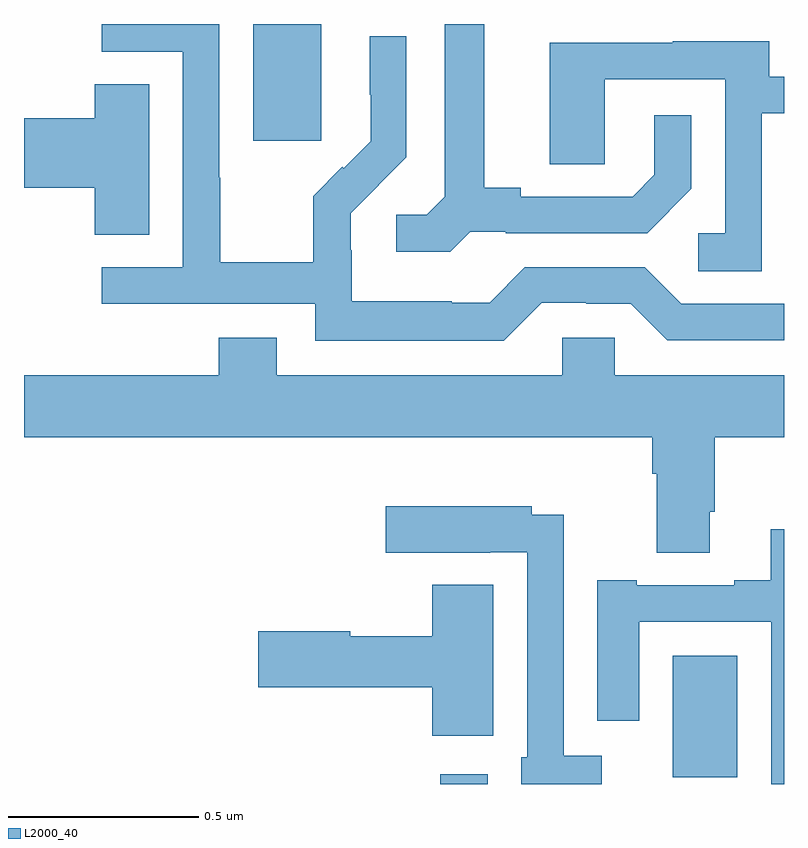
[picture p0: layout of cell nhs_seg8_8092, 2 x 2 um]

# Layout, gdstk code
import gdstk
lib = gdstk.Library(unit=1e-6, precision=1e-09)
def R(c, l, rs):  # rectangles x0, y0, x1, y1
    for r in rs: c.add(gdstk.rectangle(r[:2], r[2:], *l))
def P(c, l, *ps):  # polygons
    for p in ps: c.add(gdstk.Polygon(p, *l))
L2000_40 = (2000, 40)

nhs_seg8_8092 = lib.new_cell('nhs_seg8_8092')
R(nhs_seg8_8092, L2000_40, [(219.095,1136.9,219.22,1136.926), (219.707,1136.918,219.877,1137.238), (218.603,1138.593,218.782,1138.9)])
P(nhs_seg8_8092, L2000_40, [(219.174,1138.353),(219.268,1138.353),(219.268,1138.35),(219.64,1138.35),(219.756,1138.466),(219.756,1138.66),(219.659,1138.66),(219.659,1138.503),(219.602,1138.446),(219.307,1138.446),(219.307,1138.469),(219.211,1138.469),(219.211,1138.9),(219.107,1138.9),(219.107,1138.445),(219.06,1138.398),(218.979,1138.398),(218.979,1138.301),(219.122,1138.301)],
  [(219.363,1138.167),(219.479,1138.167),(219.479,1138.164),(219.597,1138.164),(219.693,1138.068),(220,1138.068),(220,1138.164),(219.729,1138.164),(219.633,1138.26),(219.318,1138.26),(219.225,1138.167),(219.125,1138.167),(219.125,1138.171),(218.862,1138.171),(218.862,1138.305),(218.86,1138.305),(218.86,1138.402),(218.934,1138.476),(218.933,1138.477),(219.006,1138.55),(219.006,1138.868),(218.91,1138.868),(218.91,1138.714),(218.912,1138.714),(218.912,1138.592),(218.841,1138.521),(218.838,1138.524),(218.761,1138.447),(218.761,1138.273),(218.517,1138.273),(218.517,1138.496),(218.514,1138.496),(218.514,1138.9),(218.205,1138.9),(218.205,1138.827),(218.418,1138.827),(218.418,1138.26),(218.205,1138.26),(218.205,1138.164),(218.766,1138.164),(218.766,1138.067),(219.263,1138.067)],
  [(219.942,1138.665),(220,1138.665),(220,1138.761),(219.961,1138.761),(219.961,1138.855),(219.707,1138.855),(219.707,1138.851),(219.383,1138.851),(219.383,1138.531),(219.528,1138.531),(219.528,1138.755),(219.846,1138.755),(219.846,1138.35),(219.774,1138.35),(219.774,1138.249),(219.942,1138.249)],
  [(218.329,1138.742),(218.186,1138.742),(218.186,1138.652),(218,1138.652),(218,1138.469),(218.186,1138.469),(218.186,1138.345),(218.329,1138.345)],
  [(219.805,1137.616),(219.818,1137.616),(219.818,1137.812),(220,1137.812),(220,1137.976),(219.555,1137.976),(219.555,1138.074),(219.417,1138.074),(219.417,1137.976),(218.665,1137.976),(218.665,1138.075),(218.513,1138.075),(218.513,1137.976),(218,1137.976),(218,1137.812),(219.653,1137.812),(219.653,1137.716),(219.665,1137.716),(219.665,1137.508),(219.805,1137.508)],
  [(219.52,1136.974),(219.42,1136.974),(219.42,1137.608),(219.336,1137.608),(219.336,1137.631),(218.952,1137.631),(218.952,1137.509),(219.227,1137.509),(219.227,1137.51),(219.324,1137.51),(219.324,1136.97),(219.308,1136.97),(219.308,1136.9),(219.52,1136.9)],
  [(220,1137.571),(219.965,1137.571),(219.965,1137.436),(219.869,1137.436),(219.869,1137.423),(219.613,1137.423),(219.613,1137.436),(219.509,1137.436),(219.509,1137.066),(219.619,1137.066),(219.619,1137.327),(219.966,1137.327),(219.966,1136.9),(220,1136.9)],
  [(219.235,1137.424),(219.074,1137.424),(219.074,1137.289),(218.859,1137.289),(218.859,1137.302),(218.616,1137.302),(218.616,1137.155),(219.074,1137.155),(219.074,1137.027),(219.235,1137.027)])

lib.write_gds('nhs_seg8_8092.gds')
